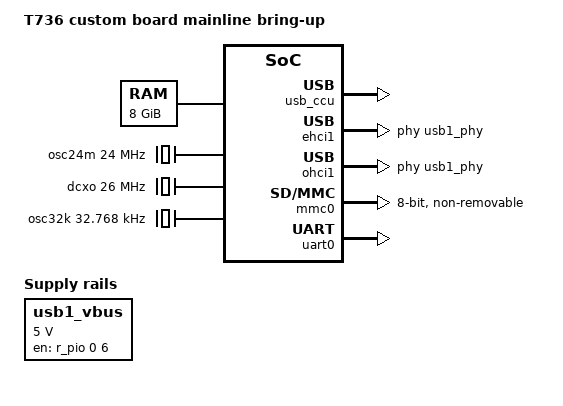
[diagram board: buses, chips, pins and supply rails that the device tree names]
// SPDX-License-Identifier: GPL-2.0-only
/dts-v1/;

/memreserve/ 0x48000000 0x01000000;
/memreserve/ 0xb4613000 0x003e8000;
/memreserve/ 0xb8800000 0x07800000;
/memreserve/ 0xfb800000 0x04800000;

/ {
	model = "T736 custom board mainline bring-up";
	compatible = "allwinner,t736";
	#address-cells = <2>;
	#size-cells = <2>;
	interrupt-parent = <&gic>;

	aliases { serial0 = &uart0; mmc0 = &mmc0; };
	chosen { stdout-path = "serial0:115200n8"; };

	memory@40000000 {
		device_type = "memory";
		reg = <0 0x40000000 2 0>;
	};

	cpus {
		#address-cells = <2>;
		#size-cells = <0>;
		cpu@0 { device_type = "cpu"; compatible = "arm,cortex-a55"; reg = <0 0x000>; enable-method = "psci"; };
		cpu@100 { device_type = "cpu"; compatible = "arm,cortex-a55"; reg = <0 0x100>; enable-method = "psci"; };
		cpu@200 { device_type = "cpu"; compatible = "arm,cortex-a55"; reg = <0 0x200>; enable-method = "psci"; };
		cpu@300 { device_type = "cpu"; compatible = "arm,cortex-a55"; reg = <0 0x300>; enable-method = "psci"; };
		cpu@400 { device_type = "cpu"; compatible = "arm,cortex-a55"; reg = <0 0x400>; enable-method = "psci"; };
		cpu@500 { device_type = "cpu"; compatible = "arm,cortex-a55"; reg = <0 0x500>; enable-method = "psci"; };
		cpu@600 { device_type = "cpu"; compatible = "arm,cortex-a76"; reg = <0 0x600>; enable-method = "psci"; };
		cpu@700 { device_type = "cpu"; compatible = "arm,cortex-a76"; reg = <0 0x700>; enable-method = "psci"; };
	};

	psci { compatible = "arm,psci-1.0"; method = "smc"; };

	timer {
		compatible = "arm,armv8-timer";
		interrupts = <1 13 8>, <1 14 8>, <1 11 8>, <1 10 8>;
	};

	gic: interrupt-controller@3400000 {
		compatible = "arm,gic-v3";
		#interrupt-cells = <3>;
		#address-cells = <2>;
		#size-cells = <2>;
		interrupt-controller;
		reg = <0 0x03400000 0 0x10000>,
		      <0 0x03460000 0 0x100000>;
	};

	osc24m: osc24m {
		compatible = "fixed-clock";
		#clock-cells = <0>;
		clock-frequency = <24000000>;
	};

	dcxo: dcxo {
		compatible = "fixed-clock";
		#clock-cells = <0>;
		clock-frequency = <26000000>;
	};

	osc32k: osc32k {
		compatible = "fixed-clock";
		#clock-cells = <0>;
		clock-frequency = <32768>;
	};

	/* The R-APB gate and bank voltages remain initialized by firmware.
	 * osc24m is a temporary APB clock handle, not a measured bus rate.
	 */
	r_pio: pinctrl@7025000 {
		compatible = "allwinner,t736-r-pinctrl";
		reg = <0 0x07025000 0 0x410>;
		interrupts = <0 198 4>, <0 200 4>;
		clocks = <&osc24m>, <&dcxo>, <&osc32k>;
		clock-names = "apb", "hosc", "losc";
		gpio-controller;
		#gpio-cells = <3>;
		interrupt-controller;
		#interrupt-cells = <3>;
		#address-cells = <0>;
	};

	usb1_vbus: regulator-usb1-vbus {
		compatible = "regulator-fixed";
		regulator-name = "usb1-vbus";
		regulator-min-microvolt = <5000000>;
		regulator-max-microvolt = <5000000>;
		gpio = <&r_pio 0 6 0>;
		enable-active-high;
		startup-delay-us = <1000>;
	};

	/* Separate resources avoid the eMMC driver's CCU register subset. */
	usb_ccu: clock-controller@2003300 {
		compatible = "allwinner,t736-usb-ccu";
		reg = <0 0x02003300 0 0x50>, <0 0x020025a4 0 4>,
		      <0 0x020025c0 0 4>;
		clocks = <&osc24m>;
		#clock-cells = <1>;
		#reset-cells = <1>;
	};

	usb1_phy: phy@4200800 {
		compatible = "allwinner,t736-usb1-phy";
		reg = <0 0x04200800 0 0x20>;
		clocks = <&usb_ccu 0>, <&usb_ccu 1>, <&usb_ccu 5>, <&usb_ccu 4>;
		clock-names = "ref", "bus", "master", "msi";
		resets = <&usb_ccu 0>;
		#phy-cells = <0>;
		vbus-supply = <&usb1_vbus>;
		allwinner,phy-tuning = <0x188>;
	};

	ehci1: usb@4200000 {
		compatible = "generic-ehci";
		reg = <0 0x04200000 0 0x400>;
		interrupts = <0 159 4>;
		clocks = <&usb_ccu 1>;
		resets = <&usb_ccu 1>;
		phys = <&usb1_phy>;
		phy-names = "usb";
		companion = <&ohci1>;
	};

	ohci1: usb@4200400 {
		compatible = "generic-ohci";
		reg = <0 0x04200400 0 0x400>;
		interrupts = <0 160 4>;
		clocks = <&usb_ccu 2>, <&usb_ccu 3>;
		resets = <&usb_ccu 2>;
		phys = <&usb1_phy>;
		phy-names = "usb";
	};

	/* Initial PIO driver owns these registers until CCU/pinctrl integration. */
	mmc0: mmc@4023000 {
		compatible = "allwinner,t736-smhc3-pio";
		reg = <0 0x04023000 0 0x1000>,
		      <0 0x02002d30 0 4>,
		      <0 0x02002d3c 0 4>,
		      <0 0x02000180 0 12>;
		bus-width = <8>;
		non-removable;
	};

	/* Prior firmware keeps UART0 clocks, reset and pinmux configured. */
	uart0: serial@2500000 {
		compatible = "snps,dw-apb-uart";
		reg = <0 0x02500000 0 0x400>;
		interrupts = <0 2 4>;
		reg-shift = <2>;
		reg-io-width = <4>;
		clocks = <&osc24m>;
		clock-names = "baudclk";
		status = "okay";
	};
};
